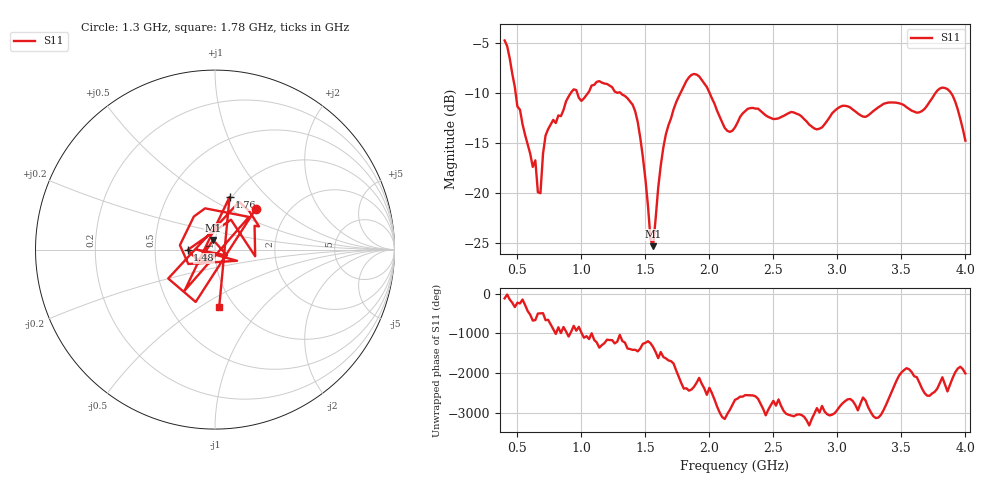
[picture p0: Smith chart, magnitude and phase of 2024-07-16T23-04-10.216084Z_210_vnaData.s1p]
!Created with skrf (http://scikit-rf.org).
# Hz S RI R 50.0
!freq ReS11 ImS11
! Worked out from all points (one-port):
!   181 points, 400 MHz to 4 GHz, reference 50 ohm
!   lowest |S11| = -25.3 dB at 1.56 GHz (marker M1), VSWR 1.11, Z = 48.8 + j5.23 ohm
!   |S11| at or under -10 dB: 486.2 MHz to 916 MHz (429.7 MHz wide, 61.3 % of centre); 1.308 GHz to 1.773 GHz (465.7 MHz wide, 30.2 % of centre); 2.002 GHz to 3.765 GHz (1.763 GHz wide, 61.1 % of centre) (the widest 3 of 5)
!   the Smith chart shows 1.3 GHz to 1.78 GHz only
!   S11 on the Smith chart (normalised r, x): 1.3 GHz: 1.38, +0.69; 1.48 GHz: 0.74, -0.00; 1.76 GHz: 0.98, +0.63; 1.78 GHz: 0.85, -0.61
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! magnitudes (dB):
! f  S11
! 400 MHz  -4.7
! 620 MHz  -17.4
! 640 MHz  -16.7
! 660 MHz  -19.9
! 680 MHz  -20.0
! 720 MHz  -14.2
! 860 MHz  -11.7
! 940 MHz  -9.6
! 1 GHz  -10.8
! 1.12 GHz  -8.9
! 1.3 GHz  -9.9
! 1.42 GHz  -11.8
! 1.48 GHz  -16.4
! 1.54 GHz  -24.6
! 1.56 GHz  -25.3
! 1.64 GHz  -15.4
! 1.76 GHz  -10.3
! 1.78 GHz  -9.8
! 1.9 GHz  -8.1
! 2.12 GHz  -13.5
! 2.2 GHz  -13.4
! 2.32 GHz  -11.5
! 2.66 GHz  -11.9
! 2.84 GHz  -13.6
! 3.1 GHz  -11.4
! 3.56 GHz  -11.6
! 3.86 GHz  -9.6
! 4 GHz  -14.7
